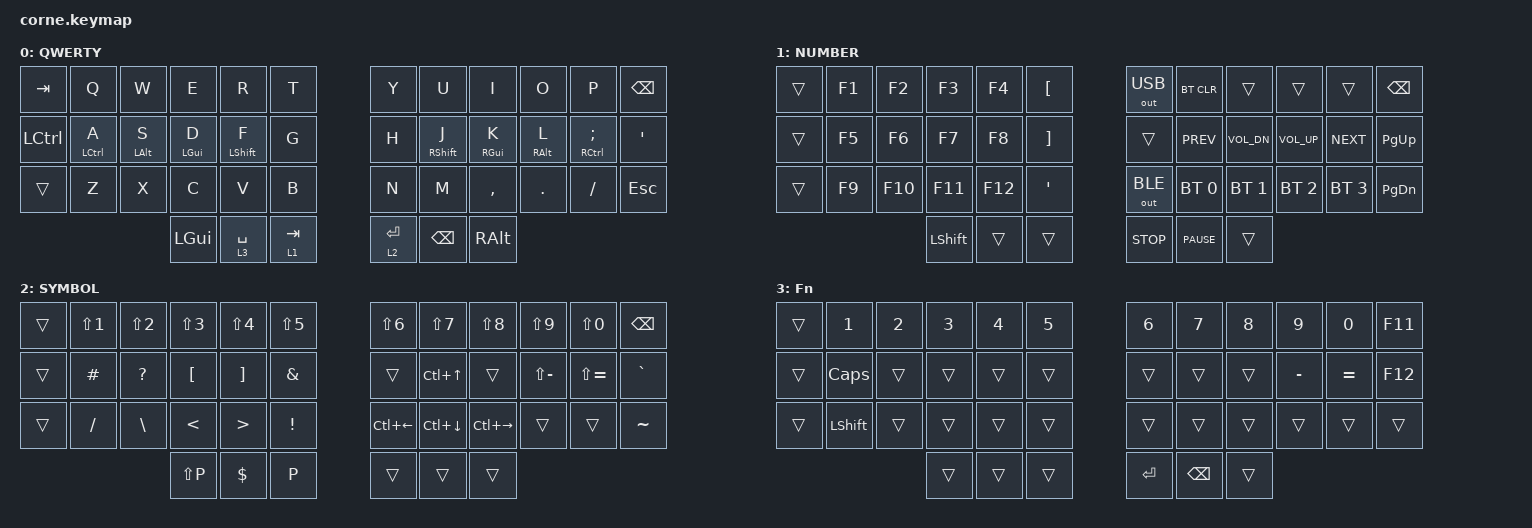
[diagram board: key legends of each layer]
/*
 * Copyright (c) 2020 The ZMK Contributors
 *
 * SPDX-License-Identifier: MIT
 */

#include <behaviors.dtsi>
#include <dt-bindings/zmk/bt.h>
#include <dt-bindings/zmk/keys.h>
#include <dt-bindings/zmk/ext_power.h>
#include <dt-bindings/zmk/outputs.h>

&mt { tapping-term-ms = <400>; };
/ {
    chosen {
        // zmk,matrix_transform = &default_transform;

        zmk,matrix_transform = &five_column_transform;
    };
};

/ {
    behaviors {
        lhht: left-hand-hold-tap {
            compatible = "zmk,behavior-hold-tap";
            label = "LEFT_HOLD_TAP";
            bindings = <&kp>, <&kp>;

            #binding-cells = <2>;
            tapping-term-ms = <200>;
            flavor = "tap-preferred";
            quick-tap-ms = <125>;
            global-quick-tap;
            hold-trigger-key-positions = <6 7 8 9 19 18 33 34 35 39 40 41 5 15 25 26 16 17 27 28 29>;
        };

        rhht: rhht {
            compatible = "zmk,behavior-hold-tap";
            label = "RHHT";
            bindings = <&kp>, <&kp>;

            #binding-cells = <2>;
            tapping-term-ms = <200>;
            quick-tap-ms = <125>;
            flavor = "tap-preferred";
            global-quick-tap;
            hold-trigger-key-positions = <4 3 2 1 13 14 0 12 24 38 37 36 10 11 20 21 22 23 30 31 32>;
        };
    };

    combos {
        compatible = "zmk,combos";

        lang_switch {
            bindings = <&kp CAPSLOCK>;
            key-positions = <10 20>;
        };

        kp_bslh {
            bindings = <&kp BACKSLASH>;
            key-positions = <0 10>;
        };

        kp_lbkt {
            bindings = <&kp RIGHT_BRACKET>;
            key-positions = <9 19>;
        };

        kp_apos {
            bindings = <&kp APOS>;
            key-positions = <29 19>;
        };

        kp_rbkt {
            bindings = <&kp LEFT_BRACKET>;
            key-positions = <8 18>;
        };

        esc {
            bindings = <&kp ESCAPE>;
            key-positions = <0 1>;
        };
    };

    keymap {
        compatible = "zmk,keymap";

        default_layer {
            display-name = "QWERTY";

            // --------------------------------------------------------------------------------
            // |  TAB |  Q  |  W  |  E  |  R  |  T  |   |  Y  |  U   |  I  |  O  |  P  | BKSP |
            // | CTRL |  A  |  S  |  D  |  F  |  G  |   |  H  |  J   |  K  |  L  |  ;  |  '   | 
            // | SHFT |  Z  |  X  |  C  |  V  |  B  |   |  N  |  M   |  ,  |  .  |  /  | ESC  |
            //                    | GUI | LWR | SPC |   | ENT | RSE  | ALT |

            bindings = <
&kp TAB    &kp Q          &kp W             &kp E         &kp R               &kp T        &kp Y        &kp U                &kp I              &kp O              &kp P     &kp BSPC
&kp LCTRL  &lhht LCTRL A  &lhht LEFT_ALT S  &lhht LGUI D  &lhht LEFT_SHIFT F  &kp G        &kp H        &rhht RIGHT_SHIFT J  &rhht RIGHT_GUI K  &rhht RIGHT_ALT L  &rhht RCTRL SEMICOLON  &kp SQT
&trans       &kp Z          &kp X             &kp C         &kp V               &kp B        &kp N        &kp M                &kp COMMA          &kp DOT            &kp SLASH  &kp ESC
                         &kp LEFT_GUI  &lt 3 SPACE         &lt 1 TAB    &lt 2 ENTER  &kp BACKSPACE  &kp RALT
            >;
        };

        lower_layer {
            display-name = "NUMBER";

            // -----------------------------------------------------------------------------------------
            // |  TAB |  1  |  2  |  3  |  4  |  5  |   |  6  |  7  |  8  |  9  |  0  | BKSP |
            // | BTCLR| BT1 | BT2 | BT3 | BT4 | BT5 |   | LFT | DWN |  UP | RGT |     |      |
            // | SHFT |     |     |     |     |     |   |     |     |     |     |     |      |
            //                    | GUI |     | SPC |   | ENT |     | ALT |

            bindings = <
&trans  &kp F1  &kp F2   &kp F3     &kp F4   &kp LEFT_BRACKET     &out OUT_USB  &bt BT_CLR    &trans        &trans           &trans    &kp BSPC
&trans  &kp F5  &kp F6   &kp F7     &kp F8   &kp RIGHT_BRACKET    &trans        &kp C_PREV    &kp C_VOL_DN  &kp C_VOLUME_UP  &kp C_NEXT  &kp PG_UP
&trans  &kp F9  &kp F10  &kp F11    &kp F12  &kp SQT              &out OUT_BLE  &bt BT_SEL 0  &bt BT_SEL 1  &bt BT_SEL 2     &bt BT_SEL 3   &kp PG_DN
                                         &kp LSHFT  &trans   &trans               &kp C_STOP    &kp C_PAUSE          &trans
            >;
        };

        raise_layer {
            display-name = "SYMBOL";

            // -----------------------------------------------------------------------------------------
            // |  TAB |  !  |  @  |  #  |  $  |  %  |   |  ^  |  &  |  *  |  (  |  )  | BKSP |
            // | CTRL |     |     |     |     |     |   |  -  |  =  |  [  |  ]  |  \  |  `   |
            // | SHFT |     |     |     |     |     |   |  _  |  +  |  {  |  }  | "|" |  ~   |
            //                    | GUI |     | SPC |   | ENT |     | ALT |

            bindings = <
&trans  &kp LS(NUMBER_1)  &kp LS(NUMBER_2)  &kp LS(NUMBER_3)  &kp LS(NUMBER_4)   &kp LS(N5)         &kp LS(NUMBER_6)    &kp LS(NUMBER_7)    &kp LS(NUMBER_8)     &kp LS(NUMBER_9)  &kp LS(NUMBER_0)  &kp BSPC
&trans  &kp HASH          &kp QUESTION      &kp LEFT_BRACKET  &kp RIGHT_BRACKET  &kp AMPERSAND      &trans              &kp LC(UP_ARROW)    &trans               &kp LS(MINUS)     &kp LS(EQUAL) &kp GRAVE
&trans  &kp SLASH         &kp BACKSLASH     &kp LESS_THAN     &kp GREATER_THAN   &kp EXCLAMATION    &kp LC(LEFT_ARROW)  &kp LC(DOWN_ARROW)  &kp LC(RIGHT_ARROW)  &trans            &trans  &kp TILDE
                                    &kp LS(P)         &kp DOLLAR         &kp P              &trans              &trans     &trans
            >;
        };

        layer_3 {
            display-name = "Fn";
            bindings = <
&trans  &kp NUMBER_1    &kp NUMBER_2  &kp NUMBER_3  &kp NUMBER_4  &kp NUMBER_5    &kp NUMBER_6  &kp NUMBER_7   &kp NUMBER_8  &kp NUMBER_9  &kp NUMBER_0         &kp F11
&trans  &kp CAPSLOCK    &trans        &trans        &trans        &trans          &trans        &trans         &trans        &kp MINUS     &kp EQUAL  &kp F12
&trans  &kp LEFT_SHIFT  &trans        &trans        &trans        &trans          &trans        &trans         &trans        &trans        &trans   &trans 
                            &trans        &trans        &trans          &kp ENTER     &kp BACKSPACE  &trans
            >;
        };
    };
};
